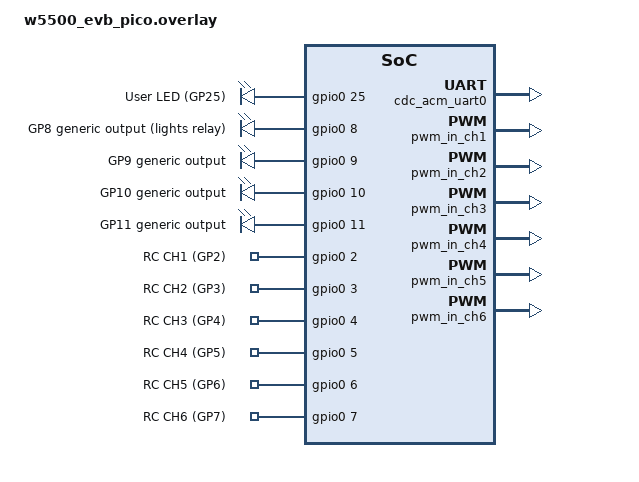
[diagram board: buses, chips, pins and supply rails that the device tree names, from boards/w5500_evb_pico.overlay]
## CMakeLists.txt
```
# apps/rc/CMakeLists.txt — RC per-device Zephyr app (BL-015 step 3).
#
# Mintát ad: apps/estop/CMakeLists.txt — ugyanaz a felépítés, csak az
# RC-specifikus source-okat (rc.c + user_channels.c) húzza be.
cmake_minimum_required(VERSION 3.20.0)

list(APPEND ZEPHYR_EXTRA_MODULES
    $ENV{ZEPHYR_BASE}/../modules/lib/micro_ros_zephyr_module/modules/libmicroros
    $ENV{W6100_MODULE_DIR})

find_package(Zephyr REQUIRED HINTS $ENV{ZEPHYR_BASE})
project(w6100_pico_bridge_rc)

# Közös réteg
add_subdirectory(
    $ENV{COMMON_DIR}
    ${CMAKE_CURRENT_BINARY_DIR}/common)

target_sources(app PRIVATE
    src/user_channels.c
    src/rc.c
    src/gpio_out.c
)

target_include_directories(app PRIVATE src)
```

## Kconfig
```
# apps/rc/Kconfig — RC app belépő Kconfig.
#
# A Zephyr build itt keresi az app-specifikus Kconfig fájlt (ha nem létezik,
# csak a default Kconfig.zephyr töltődik be). Az RC app itt húzza be a
# common/ réteg saját Kconfig opcióit (BL-020 Step 2: RC_PWM_DRIVER_PIO
# kapcsoló).

mainmenu "ROS2-Bridge — RC app"

# Közös (common/) opciók — lásd common/Kconfig.
# A COMMON_DIR env var abszolút útvonalat ad (a Docker build során
# /repo/common, a host build során a repo-gyökér/common), ezért abszolút
# `source`-ot használunk, nem `rsource`-ot — a relatív útvonal eltörne,
# mert az app a konténerben /workdir/app-ra van mountolva, nem a
# repo-gyökér alatt. Ugyanezt a mintát követi az apps/rc/CMakeLists.txt is
# (`add_subdirectory($ENV{COMMON_DIR} ...)`).
source "$(COMMON_DIR)/Kconfig"

source "Kconfig.zephyr"
```

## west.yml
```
manifest:
  version: "0.13"

  remotes:
    - name: zephyrproject-rtos
      url-base: https://github.com/zephyrproject-rtos
    - name: micro-ros
      url-base: https://github.com/micro-ROS

  projects:
    - name: zephyr
      remote: zephyrproject-rtos
      # Pin: utolsó Zephyr release, ami egyszerre kompatibilis a Docker
      # image Zephyr SDK 0.17.4-gyével ÉS tartalmazza az `include/zephyr/
      # posix/time.h` header-t, amit a micro_ros_zephyr_module (jazzy HEAD
      # @ 87dbe3a) megkövetel. v4.3.0-ban a POSIX layout átrendezésével
      # ez a header eltűnt; v4.4.0 pedig SDK 1.0+-t követel.
      # Kompatibilitási mátrix: memory.md §0. ERRATA: ERR-025.
      revision: v4.2.2
      import: true

    - name: micro_ros_zephyr_module
      remote: micro-ros
      # Pin: a jazzy branch utolsó validált commitjára. Két lokális patch
      # is kell ezen a SHA-n (tools/patches/apply.sh); minden west update
      # után `make apply-patches` (automatikusan fut build előtt).
      # Dátum: 2025-12-15 (CI fix commit, kód-szinten megegyezik a
      # 2025-03-17 "updates project to work with zephyr v4.0.x" state-tel).
      revision: 87dbe3a9b9d0fa347772e971d58d123e2296281a
      path: modules/lib/micro_ros_zephyr_module

  self:
    path: app
```

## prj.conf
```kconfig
# USB CDC ACM - serial konzol
CONFIG_USB_DEVICE_STACK=y
CONFIG_USB_CDC_ACM=y
CONFIG_UART_LINE_CTRL=y
CONFIG_SERIAL=y
CONFIG_CONSOLE=y
CONFIG_UART_CONSOLE=y

# Networking
CONFIG_NETWORKING=y
CONFIG_NET_L2_ETHERNET=y
CONFIG_NET_L2_ETHERNET_MGMT=y
# W6100 out-of-tree driver — modules/w6100_driver/ (backport Zephyr main
# upstream PR-ból v4.2.2 alá). Az overlay átírja a &ethernet node compatible
# mezőjét "wiznet,w6100"-ra, így a stock w5500 driver kikapcsolható.
CONFIG_ETH_W5500=n
CONFIG_ETH_W6100=y
CONFIG_NET_IPV4=y
CONFIG_NET_UDP=y
CONFIG_NET_LOG=y

# IP konfig — a tényleges beállítás config.json-ból jön (main.c)
CONFIG_NET_DHCPV4=y

# Hostname — set dynamically at runtime from node_name
CONFIG_NET_HOSTNAME_ENABLE=y
CONFIG_NET_HOSTNAME_DYNAMIC=y
CONFIG_NET_HOSTNAME="ROS_Bridge"
CONFIG_NET_HOSTNAME_MAX_LEN=63

# POSIX sockets (micro-ROS UDP transport)
CONFIG_POSIX_API=y
CONFIG_NET_SOCKETS=y

# Network buffers (RP2040: 264KB RAM)
CONFIG_NET_PKT_RX_COUNT=8
CONFIG_NET_PKT_TX_COUNT=8
CONFIG_NET_BUF_RX_COUNT=24
CONFIG_NET_BUF_TX_COUNT=24

# micro-ROS
# Az agent IP-t runtime config.json dönti el (devices/RC/config.json).
# Compile-time default = dev subnet (192.168.68.125), mert az RC prod
# subnet restore még nyitott (BL-013). BL-013 lezárásakor húzzuk 10.0.10.1-re.
CONFIG_MICROROS=y
CONFIG_MICROROS_TRANSPORT_UDP=y
CONFIG_MICROROS_AGENT_IP="192.168.68.125"
CONFIG_MICROROS_AGENT_PORT="8888"

# C++ és newlib (micro-ROS szükséges)
CONFIG_CPP=y
CONFIG_NEWLIB_LIBC=y
CONFIG_NEWLIB_LIBC_NANO=n

# Logging
CONFIG_LOG=y
CONFIG_LOG_DEFAULT_LEVEL=3
CONFIG_LOG_PROCESS_THREAD_STACK_SIZE=2048

# Random number generator (networking igényli)
CONFIG_ENTROPY_GENERATOR=y
CONFIG_TEST_RANDOM_GENERATOR=y

# Heap / Stack (micro-ROS nagyobb igény)
CONFIG_HEAP_MEM_POOL_SIZE=98304
CONFIG_MAIN_STACK_SIZE=16384

# Flash + LittleFS (config tárolás)
CONFIG_FLASH=y
CONFIG_FLASH_MAP=y
CONFIG_FLASH_PAGE_LAYOUT=y
CONFIG_FILE_SYSTEM=y
CONFIG_FILE_SYSTEM_LITTLEFS=y
CONFIG_FS_LITTLEFS_FC_HEAP_SIZE=4096

# Shell (config parancsok soros konzolon)
CONFIG_SHELL=y
CONFIG_SHELL_BACKEND_SERIAL=y
CONFIG_SHELL_STACK_SIZE=4096
CONFIG_SHELL_ARGC_MAX=8
CONFIG_SHELL_CMD_BUFF_SIZE=256
CONFIG_SHELL_BACKEND_SERIAL_RX_RING_BUFFER_SIZE=512
CONFIG_SHELL_BACKEND_SERIAL_TX_RING_BUFFER_SIZE=8192
CONFIG_SHELL_STACK_SIZE=8192
CONFIG_REBOOT=y

# Hardware watchdog (RP2040 beépített WDT)
CONFIG_WATCHDOG=y

# Hardware info (RP2040 unique device ID — used for MAC generation)
CONFIG_HWINFO=y

# --- micro-ROS entity limits ---
# Publishers: 16 csatorna + 1 diagnostics + spare = 20 (a param event publisher
#   elvetve BL-017 / ERR-032 miatt, de a slot marad spare-ként).
# Subscribers: 16 csatorna (legrosszabb eset).
# Servers: 2 user service (E-Stop, relay); a 6 param server slot törölve
#   (param_server_init() nincs a main.c-ben — config.json a forrás).
CONFIG_MICROROS_PUBLISHERS="20"
CONFIG_MICROROS_SUBSCRIBERS="16"
CONFIG_MICROROS_SERVERS="2"
CONFIG_MICROROS_CLIENTS="0"
CONFIG_MICROROS_NODES="1"

# --- GPIO interrupt (atomic flag ISR-hez) ---
# CONFIG_ATOMIC_OPERATIONS_BUILTIN nem user-configurable; RP2040-on automatikusan builtin

# --- ADC (akkumulátor feszültségmérés) ---
CONFIG_ADC=y

# --- BL-020 Step 2 fix — RP2040 PIO PWM input driver ---
# Eliminálja az IO_IRQ_BANK0 shared-IRQ dispatch latency-t, ami +27.5 µs
# szisztematikus bias-t okozott a CH2-n bármelyik másik HIGH csatorna
# ISR-je miatt. Részletek: docs/backlog.md BL-020.
CONFIG_PIO_RPI_PICO=y
CONFIG_RC_PWM_DRIVER_PIO=y
```

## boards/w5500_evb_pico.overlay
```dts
/*
 * apps/rc/boards/w5500_evb_pico.overlay — RC-only board overlay.
 *
 * Pin-kiosztás:
 *   - rc_ch1..6   GP2..GP7  — PWM input
 *                             * IRQ-fallback driver (drv_pwm_in.c):
 *                               a pineket a `rc_inputs` gpio-keys blokk
 *                               adja GPIO_PULL_DOWN flaggel.
 *                             * PIO driver (drv_pwm_in_pio.c, BL-020 Step 2):
 *                               a pinek PIO funkcióra váltanak a
 *                               pinctrl-0 groupok aktiválásakor; a
 *                               `&pio0 / &pio1` child node-ok adják a
 *                               csatorna-metszeteket.
 *   - gp8..gp11   GP8..GP11 — generic Bool output + pin-readback feedback
 *                             (ACTIVE_HIGH, cmd sub + state pub csatornák;
 *                              GP8 fizikailag világítás-relét hajt, a többi
 *                              még szabad — bármilyen relé/LED bedrótozható).
 *   - user_led    GP25      — bridge-online indikátor (common/src/main.c)
 *
 * A per-device overlay csak az RC funkciókhoz szükséges pineket deklarálja —
 * más device-ok (E_STOP, PEDAL) pinkiosztása független, így ugyanaz a pin
 * egy másik app-ban más szerepet kaphat (pl. GP22 E_STOP okgo_led).
 *
 * Ethernet: a board default w5500-ot köt a &ethernet node-ra, itt
 * felülírjuk W6100-ra (out-of-tree driver: modules/w6100_driver/).
 *
 * LittleFS: a config.json perzisztens tárolása a flash utolsó 1 MB-jában
 * (offset 15 MB) — szükséges a `bridge config` shell parancsokhoz.
 */

/ {
	chosen {
		zephyr,console = &cdc_acm_uart0;
		zephyr,shell-uart = &cdc_acm_uart0;
	};

	leds {
		compatible = "gpio-leds";
		user_led: led_0 {
			gpios = <&gpio0 25 GPIO_ACTIVE_HIGH>;
			label = "User LED (GP25)";
		};
		gp8_out: gp8_out {
			gpios = <&gpio0 8 GPIO_ACTIVE_HIGH>;
			label = "GP8 generic output (lights relay)";
		};
		gp9_out: gp9_out {
			gpios = <&gpio0 9 GPIO_ACTIVE_HIGH>;
			label = "GP9 generic output";
		};
		gp10_out: gp10_out {
			gpios = <&gpio0 10 GPIO_ACTIVE_HIGH>;
			label = "GP10 generic output";
		};
		gp11_out: gp11_out {
			gpios = <&gpio0 11 GPIO_ACTIVE_HIGH>;
			label = "GP11 generic output";
		};
	};

	rc_inputs {
		compatible = "gpio-keys";

		rc_ch1: rc_ch1 { gpios = <&gpio0 2 GPIO_PULL_DOWN>; label = "RC CH1 (GP2)"; };
		rc_ch2: rc_ch2 { gpios = <&gpio0 3 GPIO_PULL_DOWN>; label = "RC CH2 (GP3)"; };
		rc_ch3: rc_ch3 { gpios = <&gpio0 4 GPIO_PULL_DOWN>; label = "RC CH3 (GP4)"; };
		rc_ch4: rc_ch4 { gpios = <&gpio0 5 GPIO_PULL_DOWN>; label = "RC CH4 (GP5)"; };
		rc_ch5: rc_ch5 { gpios = <&gpio0 6 GPIO_PULL_DOWN>; label = "RC CH5 (GP6)"; };
		rc_ch6: rc_ch6 { gpios = <&gpio0 7 GPIO_PULL_DOWN>; label = "RC CH6 (GP7)"; };
	};

	aliases {
		led0    = &user_led;
		rc-ch1  = &rc_ch1;
		rc-ch2  = &rc_ch2;
		rc-ch3  = &rc_ch3;
		rc-ch4  = &rc_ch4;
		rc-ch5  = &rc_ch5;
		rc-ch6  = &rc_ch6;
		gp8-out  = &gp8_out;
		gp9-out  = &gp9_out;
		gp10-out = &gp10_out;
		gp11-out = &gp11_out;
	};
};

&zephyr_udc0 {
	cdc_acm_uart0: cdc_acm_uart0 {
		compatible = "zephyr,cdc-acm-uart";
	};
};

&ethernet {
	compatible = "wiznet,w6100";
};

/* LittleFS storage partition — last 1MB of flash (offset 15MB) */
&flash0 {
	partitions {
		storage_partition: partition@f00000 {
			label = "storage";
			reg = <0x00f00000 0x00100000>;
		};
	};
};

/*
 * ─────────────────────────────────────────────────────────────────────────
 * BL-020 Step 2 — PIO-alapú PWM input capture (IRQ-mentes, deterministic).
 *
 * A 6 RC csatornát 6 külön PIO state machine méri: CH1..CH4 a PIO0-n, CH5..CH6
 * a PIO1-en. Minden csatorna saját `nowlab,pwm-input-pio` child node-ot kap
 * egy-egy dedikált pinctrl group-pal, így a driver (drv_pwm_in_pio.c) minden
 * instance-hez külön tudja allokálni az SM-et és alkalmazni a pinmux-ot.
 *
 * A pinctrl groupok `input-enable` + `bias-pull-down` párost kapnak, hogy:
 *   - az RC vevő kihúzásakor a pin ne lebegjen (ISR-storm elkerülése
 *     továbbra is ugyanúgy fontos, mint a fallback IRQ driveren), és
 *   - a PIO program `wait pin 0/1` utasításai valid logikai szintet lássanak.
 *
 * A meglévő `rc_inputs { compatible = "gpio-keys" }` blokkot és a `rc-ch*`
 * aliasokat fentebb meghagytuk: a fallback IRQ driver (drv_pwm_in.c) és a
 * per-device user_channels.c onnan olvassa ki a GP-számot a
 * `GPIO_DT_SPEC_GET(DT_ALIAS(rc_ch1), gpios)` makróval. A PIO driver a
 * `pin = <N>` property-t használja, a fallback driver a DT_ALIAS spec.pin-t —
 * a két nézet ugyanarra a fizikai GP-re mutat, két szabványos DT mechanizmussal.
 *
 * A pinctrl override a PIO driver init-jekor veszi át a pad funkcióját SIO-ról
 * PIO-ra; a fallback (IRQ) buildben ezek a groupok deklaráltak, de nem
 * aktivizálódnak (mert sem `&pio0`, sem `&pio1` nem `status = okay`).
 * Ha a build a fallback IRQ drivert használja, a `&pio0 {status = "okay"}`
 * és `&pio1 {status = "okay"}` sor akkor is bent maradhat — üres aktív PIO
 * node nem foglal SM-et, amíg nincs benne aktiv child.
 * ─────────────────────────────────────────────────────────────────────────
 */

&pinctrl {
	pio0_pwm_in_ch1_default: pio0_pwm_in_ch1_default {
		group1 {
			pinmux = <PIO0_P2>;
			input-enable;
			bias-pull-down;
		};
	};

	pio0_pwm_in_ch2_default: pio0_pwm_in_ch2_default {
		group1 {
			pinmux = <PIO0_P3>;
			input-enable;
			bias-pull-down;
		};
	};

	pio0_pwm_in_ch3_default: pio0_pwm_in_ch3_default {
		group1 {
			pinmux = <PIO0_P4>;
			input-enable;
			bias-pull-down;
		};
	};

	pio0_pwm_in_ch4_default: pio0_pwm_in_ch4_default {
		group1 {
			pinmux = <PIO0_P5>;
			input-enable;
			bias-pull-down;
		};
	};

	pio1_pwm_in_ch5_default: pio1_pwm_in_ch5_default {
		group1 {
			pinmux = <PIO1_P6>;
			input-enable;
			bias-pull-down;
		};
	};

	pio1_pwm_in_ch6_default: pio1_pwm_in_ch6_default {
		group1 {
			pinmux = <PIO1_P7>;
			input-enable;
			bias-pull-down;
		};
	};
};

&pio0 {
	status = "okay";

	pwm_in_ch1: pwm_in_ch1 {
		compatible = "nowlab,pwm-input-pio";
		status = "okay";
		pin = <2>;
		pinctrl-0 = <&pio0_pwm_in_ch1_default>;
		pinctrl-names = "default";
	};

	pwm_in_ch2: pwm_in_ch2 {
		compatible = "nowlab,pwm-input-pio";
		status = "okay";
		pin = <3>;
		pinctrl-0 = <&pio0_pwm_in_ch2_default>;
		pinctrl-names = "default";
	};

	pwm_in_ch3: pwm_in_ch3 {
		compatible = "nowlab,pwm-input-pio";
		status = "okay";
		pin = <4>;
		pinctrl-0 = <&pio0_pwm_in_ch3_default>;
		pinctrl-names = "default";
	};

	pwm_in_ch4: pwm_in_ch4 {
		compatible = "nowlab,pwm-input-pio";
		status = "okay";
		pin = <5>;
		pinctrl-0 = <&pio0_pwm_in_ch4_default>;
		pinctrl-names = "default";
	};
};

&pio1 {
	status = "okay";

	pwm_in_ch5: pwm_in_ch5 {
		compatible = "nowlab,pwm-input-pio";
		status = "okay";
		pin = <6>;
		pinctrl-0 = <&pio1_pwm_in_ch5_default>;
		pinctrl-names = "default";
	};

	pwm_in_ch6: pwm_in_ch6 {
		compatible = "nowlab,pwm-input-pio";
		status = "okay";
		pin = <7>;
		pinctrl-0 = <&pio1_pwm_in_ch6_default>;
		pinctrl-names = "default";
	};
};
```

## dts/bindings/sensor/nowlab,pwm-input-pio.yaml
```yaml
# Copyright (c) 2026 Nowlab Studio
# SPDX-License-Identifier: Apache-2.0
#
# BL-020 Step 2 — deterministic PWM input capture a RP2040 PIO blokkjaival.
#
# Egy `nowlab,pwm-input-pio` csatorna pontosan egy PIO state machine-t foglal
# a szülő pio0 / pio1 blokkból, és egy GPIO pin PWM pulzusszélességét méri
# 1 µs felbontással (clkdiv = 125). A driver a `pin` property-ből tudja meg a
# GP számot (0..29); a `pinctrl-0`-ban megadott group végzi a pad függvény
# átkapcsolását SIO-ról PIO-ra és a pull-down konfigurálást.
#
# Ennek a binding-nak a célja a `common/src/drivers/drv_pwm_in_pio.c` driver
# felélesztése — CH1..CH6 a PIO0/PIO1-en, lásd apps/rc/boards/w5500_evb_pico.overlay.

description: |
  Nowlab PIO-based PWM input capture channel (single RC channel per instance,
  one PIO state machine per channel). Used to eliminate the shared IO_IRQ_BANK0
  dispatch latency on the RP2040 when multiple GPIO callbacks are active; see
  docs/backlog.md BL-020 for the measurement background and design notes.

compatible: "nowlab,pwm-input-pio"

include: ["raspberrypi,pico-pio-device.yaml"]

properties:
  pin:
    type: int
    required: true
    description: |
      GP number (0..29) of the PWM input. Must be the same pin that the
      pinctrl-0 group routes to PIO function. The driver passes this to
      `sm_config_set_in_pins()` / `sm_config_set_jmp_pin()` so the PIO
      program observes the correct input.
```

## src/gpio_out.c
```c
#include "gpio_out.h"
#include "drivers/drv_gpio.h"
#include <zephyr/logging/log.h>

LOG_MODULE_REGISTER(gpio_out, LOG_LEVEL_INF);

/* ------------------------------------------------------------------ */
/*  Generic GPIO output csatornák — GP8..GP11                         */
/*                                                                     */
/*  Mindegyik pin két ROS2 topicon jelenik meg:                        */
/*    - gpX         (std_msgs/Bool, subscribe) — parancs               */
/*    - gpX_state   (std_msgs/Bool, publish 5 Hz) — tényleges szint    */
/*                                                                     */
/*  A write() a pinre teszi a parancsot (ACTIVE_HIGH miatt true → 1). */
/*  A state publisher a legutóbb kiadott parancsot adja vissza — RP2040 */
/*  Zephyr GPIO driveren a pin-readback csak INPUT bufferrel mûködik,  */
/*  amit a drv_gpio_setup_output nem kapcsol be. Tiszta output pinnél  */
/*  külső hatás nincs, így a write-echo semantikailag azonos a tényle- */
/*  ges pinszinttel.                                                    */
/*                                                                     */
/*  GP8 fizikailag a világítás-relét hajtja (BL-016), a többi GPIO    */
/*  aktuálisan szabad — bármilyen ACTIVE_HIGH relé/LED bedrótozható.  */
/* ------------------------------------------------------------------ */

#define STATE_PERIOD_MS 200  /* 5 Hz feedback rate */

static gpio_channel_cfg_t gp8_cfg = {
	.spec = GPIO_DT_SPEC_GET(DT_ALIAS(gp8_out), gpios),
	.dir  = GPIO_OUTPUT,
};

static gpio_channel_cfg_t gp9_cfg = {
	.spec = GPIO_DT_SPEC_GET(DT_ALIAS(gp9_out), gpios),
	.dir  = GPIO_OUTPUT,
};

static gpio_channel_cfg_t gp10_cfg = {
	.spec = GPIO_DT_SPEC_GET(DT_ALIAS(gp10_out), gpios),
	.dir  = GPIO_OUTPUT,
};

static gpio_channel_cfg_t gp11_cfg = {
	.spec = GPIO_DT_SPEC_GET(DT_ALIAS(gp11_out), gpios),
	.dir  = GPIO_OUTPUT,
};

/* Last commanded state per pin — read() publishes this back */
static bool gp8_state_cache;
static bool gp9_state_cache;
static bool gp10_state_cache;
static bool gp11_state_cache;

static void gpio_write_common(gpio_channel_cfg_t *cfg, bool *cache,
                              const channel_value_t *val)
{
	LOG_DBG("write: pin=%d val=%d", cfg->spec.pin, val->b ? 1 : 0);
	drv_gpio_write(cfg, val->b ? 1 : 0);
	*cache = val->b;
}

/* ---- GP8 ---- */
static int  gp8_init(void)                       { return drv_gpio_setup_output(&gp8_cfg); }
static void gp8_read(channel_value_t *out)       { out->b = gp8_state_cache; }
static void gp8_write(const channel_value_t *v)  { gpio_write_common(&gp8_cfg, &gp8_state_cache, v); }

const channel_t gp8_channel = {
	.name        = "gp8",
	.topic_pub   = "gp8_state",
	.topic_sub   = "gp8",
	.msg_type    = MSG_BOOL,
	.period_ms   = STATE_PERIOD_MS,
	.irq_capable = false,
	.init        = gp8_init,
	.read        = gp8_read,
	.write       = gp8_write,
};

/* ---- GP9 ---- */
static int  gp9_init(void)                       { return drv_gpio_setup_output(&gp9_cfg); }
static void gp9_read(channel_value_t *out)       { out->b = gp9_state_cache; }
static void gp9_write(const channel_value_t *v)  { gpio_write_common(&gp9_cfg, &gp9_state_cache, v); }

const channel_t gp9_channel = {
	.name        = "gp9",
	.topic_pub   = "gp9_state",
	.topic_sub   = "gp9",
	.msg_type    = MSG_BOOL,
	.period_ms   = STATE_PERIOD_MS,
	.irq_capable = false,
	.init        = gp9_init,
	.read        = gp9_read,
	.write       = gp9_write,
};

/* ---- GP10 ---- */
static int  gp10_init(void)                      { return drv_gpio_setup_output(&gp10_cfg); }
static void gp10_read(channel_value_t *out)      { out->b = gp10_state_cache; }
static void gp10_write(const channel_value_t *v) { gpio_write_common(&gp10_cfg, &gp10_state_cache, v); }

const channel_t gp10_channel = {
	.name        = "gp10",
	.topic_pub   = "gp10_state",
	.topic_sub   = "gp10",
	.msg_type    = MSG_BOOL,
	.period_ms   = STATE_PERIOD_MS,
	.irq_capable = false,
	.init        = gp10_init,
	.read        = gp10_read,
	.write       = gp10_write,
};

/* ---- GP11 ---- */
static int  gp11_init(void)                      { return drv_gpio_setup_output(&gp11_cfg); }
static void gp11_read(channel_value_t *out)      { out->b = gp11_state_cache; }
static void gp11_write(const channel_value_t *v) { gpio_write_common(&gp11_cfg, &gp11_state_cache, v); }

const channel_t gp11_channel = {
	.name        = "gp11",
	.topic_pub   = "gp11_state",
	.topic_sub   = "gp11",
	.msg_type    = MSG_BOOL,
	.period_ms   = STATE_PERIOD_MS,
	.irq_capable = false,
	.init        = gp11_init,
	.read        = gp11_read,
	.write       = gp11_write,
};
```

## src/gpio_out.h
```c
#ifndef APPS_RC_GPIO_OUT_H
#define APPS_RC_GPIO_OUT_H

#include "bridge/channel.h"

extern const channel_t gp8_channel;
extern const channel_t gp9_channel;
extern const channel_t gp10_channel;
extern const channel_t gp11_channel;

#endif /* APPS_RC_GPIO_OUT_H */
```

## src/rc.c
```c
#include "rc.h"
#include "bridge/channel_manager.h"
#include "config/config.h"
#include "drivers/drv_pwm_in.h"

#include <zephyr/kernel.h>
#include <zephyr/logging/log.h>
#include <stdlib.h>

LOG_MODULE_REGISTER(rc, LOG_LEVEL_INF);

/* ------------------------------------------------------------------ */
/*  Hardware — 6 PWM input channels on GP2..GP7                       */
/* ------------------------------------------------------------------ */

static rc_pwm_channel_t rc_hw[RC_CH_COUNT] = {
	[0] = { .spec = GPIO_DT_SPEC_GET(DT_ALIAS(rc_ch1), gpios) },
	[1] = { .spec = GPIO_DT_SPEC_GET(DT_ALIAS(rc_ch2), gpios) },
	[2] = { .spec = GPIO_DT_SPEC_GET(DT_ALIAS(rc_ch3), gpios) },
	[3] = { .spec = GPIO_DT_SPEC_GET(DT_ALIAS(rc_ch4), gpios) },
	[4] = { .spec = GPIO_DT_SPEC_GET(DT_ALIAS(rc_ch5), gpios) },
	[5] = { .spec = GPIO_DT_SPEC_GET(DT_ALIAS(rc_ch6), gpios) },
};

static int rc_init(void)
{
	return rc_pwm_init(rc_hw, RC_CH_COUNT);
}

/* ------------------------------------------------------------------ */
/*  EMA filter state (per channel)                                     */
/* ------------------------------------------------------------------ */

static float ema_state[RC_CH_COUNT];
static bool  ema_initialized[RC_CH_COUNT];

/* ------------------------------------------------------------------ */
/*  Normalize raw PWM (us) to -1.0 .. +1.0 using trim from config    */
/* ------------------------------------------------------------------ */

static float rc_normalize(int hw_idx)
{
	if (!rc_pwm_valid(&rc_hw[hw_idx])) {
		ema_initialized[hw_idx] = false;
		return 0.0f;
	}

	uint16_t raw = rc_pwm_get(&rc_hw[hw_idx]);
	const cfg_rc_trim_ch_t *t = &g_config.rc_trim.ch[hw_idx];
	uint16_t dz = g_config.rc_trim.deadzone;

	int16_t centered = (int16_t)raw - (int16_t)t->center;

	if (abs(centered) < (int16_t)dz) {
		centered = 0;
	}

	float norm;

	if (centered > 0) {
		uint16_t range = t->max - t->center;

		norm = (range > 0) ? (float)centered / (float)range : 0.0f;
	} else if (centered < 0) {
		uint16_t range = t->center - t->min;

		norm = (range > 0) ? (float)centered / (float)range : 0.0f;
	} else {
		norm = 0.0f;
	}

	if (norm > 1.0f) {
		norm = 1.0f;
	} else if (norm < -1.0f) {
		norm = -1.0f;
	}

	float alpha = g_config.rc_trim.ema_alpha;

	if (alpha >= 1.0f) {
		return norm;
	}

	if (!ema_initialized[hw_idx]) {
		ema_state[hw_idx] = norm;
		ema_initialized[hw_idx] = true;
		return norm;
	}

	ema_state[hw_idx] = alpha * norm + (1.0f - alpha) * ema_state[hw_idx];
	return ema_state[hw_idx];
}

/* ------------------------------------------------------------------ */
/*  Read functions — one per channel                                   */
/* ------------------------------------------------------------------ */

static void rc_ch1_read(channel_value_t *val) { val->f32 = rc_normalize(0); }
static void rc_ch2_read(channel_value_t *val) { val->f32 = rc_normalize(1); }
static void rc_ch3_read(channel_value_t *val) { val->f32 = rc_normalize(2); }
static void rc_ch4_read(channel_value_t *val) { val->f32 = rc_normalize(3); }
static void rc_ch5_read(channel_value_t *val) { val->f32 = rc_normalize(4); }
static void rc_ch6_read(channel_value_t *val) { val->f32 = rc_normalize(5); }

/* ------------------------------------------------------------------ */
/*  Channel descriptors                                                */
/* ------------------------------------------------------------------ */

#define RC_STICK_PERIOD_MS   20    /* 50Hz — matches RC frame rate */
#define RC_SWITCH_PERIOD_MS  50

const channel_t rc_ch1_channel = {
	.name      = "rc_ch1",
	.topic_pub = "rc_ch1",
	.msg_type  = MSG_FLOAT32,
	.period_ms = RC_STICK_PERIOD_MS,
	.init      = rc_init,
	.read      = rc_ch1_read,
};

const channel_t rc_ch2_channel = {
	.name      = "rc_ch2",
	.topic_pub = "rc_ch2",
	.msg_type  = MSG_FLOAT32,
	.period_ms = RC_STICK_PERIOD_MS,
	.read      = rc_ch2_read,
};

const channel_t rc_ch3_channel = {
	.name      = "rc_ch3",
	.topic_pub = "rc_ch3",
	.msg_type  = MSG_FLOAT32,
	.period_ms = RC_STICK_PERIOD_MS,
	.read      = rc_ch3_read,
};

const channel_t rc_ch4_channel = {
	.name      = "rc_ch4",
	.topic_pub = "rc_ch4",
	.msg_type  = MSG_FLOAT32,
	.period_ms = RC_STICK_PERIOD_MS,
	.read      = rc_ch4_read,
};

const channel_t rc_ch5_channel = {
	.name      = "rc_ch5",
	.topic_pub = "rc_ch5",
	.msg_type  = MSG_FLOAT32,
	.period_ms = RC_SWITCH_PERIOD_MS,
	.read      = rc_ch5_read,
};

const channel_t rc_ch6_channel = {
	.name      = "rc_ch6",
	.topic_pub = "rc_ch6",
	.msg_type  = MSG_FLOAT32,
	.period_ms = RC_SWITCH_PERIOD_MS,
	.read      = rc_ch6_read,
};
```

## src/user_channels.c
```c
/*
 * apps/rc/src/user_channels.c — RC per-device csatorna-regiszter (BL-015 step 3).
 *
 * RC-specifikus csatornák (estop/mode/okgo/relay/battery NEM ide tartozik):
 *   - rc_ch1..rc_ch6 — PWM input publisher csatornák
 *   - gp8..gp11      — generic Bool output + pin-readback state csatornák
 *
 * A register_if_enabled pattern megőrzi a config_channel_enabled() szemantikát:
 * a runtime config (devices/RC/config.json) eldöntheti, hogy egy adott csatorna
 * aktív legyen-e.
 */

#include "user/user_channels.h"
#include "bridge/channel_manager.h"
#include "config/config.h"
#include "rc.h"
#include "gpio_out.h"

static void register_if_enabled(const channel_t *ch)
{
	if (config_channel_enabled(ch->name)) {
		channel_register(ch);
	}
}

void user_register_channels(void)
{
	register_if_enabled(&rc_ch1_channel);
	register_if_enabled(&rc_ch2_channel);
	register_if_enabled(&rc_ch3_channel);
	register_if_enabled(&rc_ch4_channel);
	register_if_enabled(&rc_ch5_channel);
	register_if_enabled(&rc_ch6_channel);
	register_if_enabled(&gp8_channel);
	register_if_enabled(&gp9_channel);
	register_if_enabled(&gp10_channel);
	register_if_enabled(&gp11_channel);
}
```
